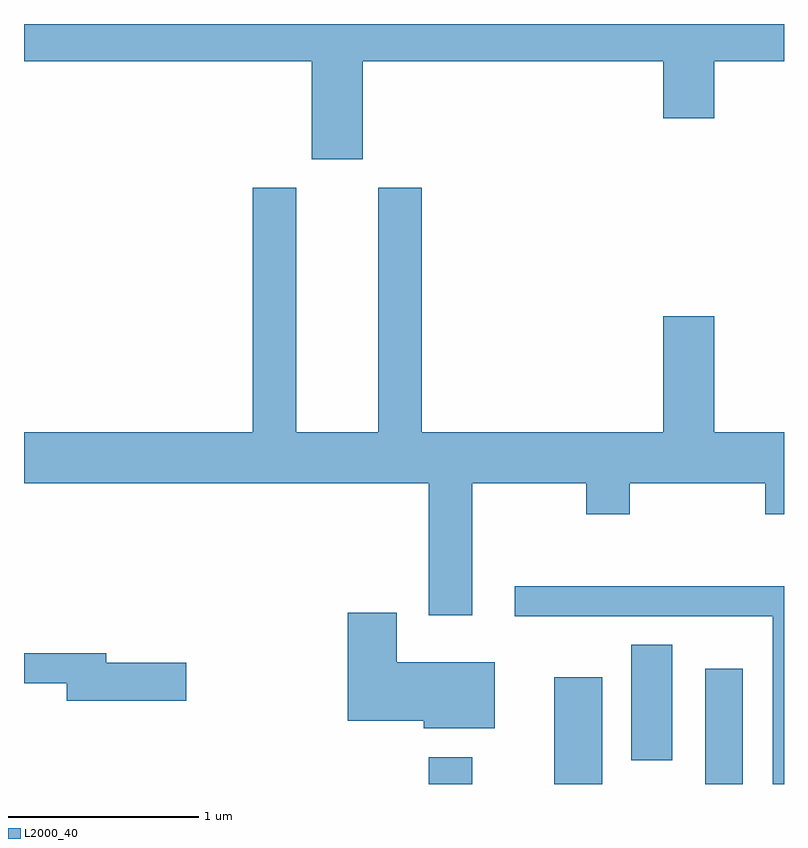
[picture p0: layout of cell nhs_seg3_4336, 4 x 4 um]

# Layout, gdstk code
import gdstk
lib = gdstk.Library(unit=1e-6, precision=1e-09)
def R(c, l, rs):  # rectangles x0, y0, x1, y1
    for r in rs: c.add(gdstk.rectangle(r[:2], r[2:], *l))
def P(c, l, *ps):  # polygons
    for p in ps: c.add(gdstk.Polygon(p, *l))
L2000_40 = (2000, 40)

nhs_seg3_4336 = lib.new_cell('nhs_seg3_4336')
R(nhs_seg3_4336, L2000_40, [(313.741,1219.892,313.969,1220.034), (314.401,1219.892,314.654,1220.454), (315.196,1219.892,315.394,1220.499), (314.806,1220.016,315.024,1220.624)])
P(nhs_seg3_4336, L2000_40, [(313.394,1223.696),(314.976,1223.696),(314.976,1223.396),(315.244,1223.396),(315.244,1223.696),(315.611,1223.696),(315.611,1223.892),(311.611,1223.892),(311.611,1223.696),(313.126,1223.696),(313.126,1223.181),(313.394,1223.181)],
  [(313.969,1221.476),(314.571,1221.476),(314.571,1221.311),(314.799,1221.311),(314.799,1221.476),(315.511,1221.476),(315.511,1221.311),(315.611,1221.311),(315.611,1221.744),(315.244,1221.744),(315.244,1222.354),(314.976,1222.354),(314.976,1221.744),(313.704,1221.744),(313.704,1223.029),(313.476,1223.029),(313.476,1221.744),(313.044,1221.744),(313.044,1223.029),(312.816,1223.029),(312.816,1221.744),(311.611,1221.744),(311.611,1221.476),(313.741,1221.476),(313.741,1220.781),(313.969,1220.781)],
  [(315.611,1220.934),(314.193,1220.934),(314.193,1220.776),(315.551,1220.776),(315.551,1219.892),(315.611,1219.892)],
  [(314.089,1220.534),(313.574,1220.534),(313.574,1220.794),(313.316,1220.794),(313.316,1220.226),(313.716,1220.226),(313.716,1220.186),(314.089,1220.186)],
  [(312.464,1220.529),(312.044,1220.529),(312.044,1220.579),(311.611,1220.579),(311.611,1220.421),(311.836,1220.421),(311.836,1220.331),(312.464,1220.331)])

lib.write_gds('nhs_seg3_4336.gds')
